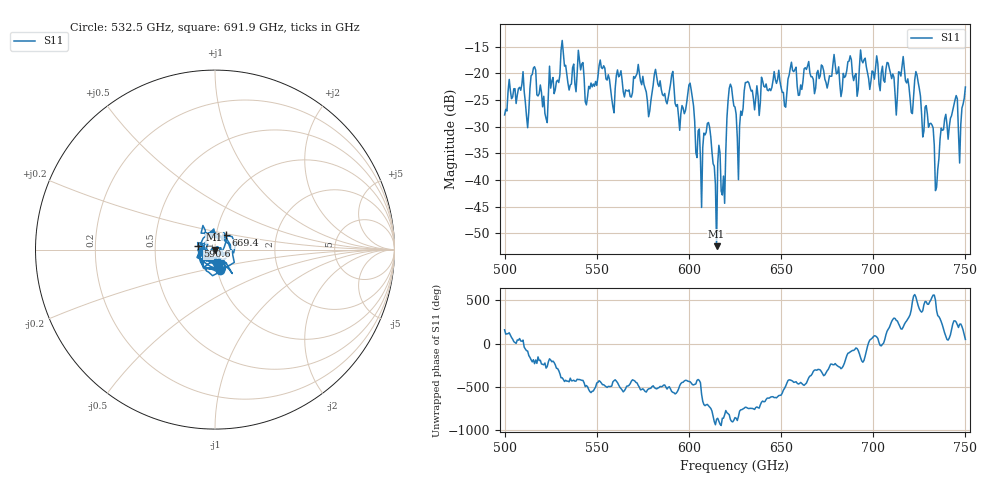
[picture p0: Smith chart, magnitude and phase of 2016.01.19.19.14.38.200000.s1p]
!Created with skrf (http://scikit-rf.org).
# GHz S RI R 50.0
!freq ReS11 ImS11
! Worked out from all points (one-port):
!   401 points, 500 GHz to 750 GHz, reference 50 ohm
!   lowest |S11| = -52.4 dB at 615 GHz (marker M1), VSWR 1.00, Z = 49.8 - j0.11 ohm
!   |S11| at or under -10 dB: start of sweep to end of sweep
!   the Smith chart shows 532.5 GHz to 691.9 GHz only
!   S11 on the Smith chart (normalised r, x): 532.5 GHz: 1.03, -0.24; 590.6 GHz: 0.83, +0.03; 669.4 GHz: 1.11, +0.18; 691.9 GHz: 1.01, -0.14
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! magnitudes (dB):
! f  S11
! 500 GHz  -27.8
! 508.8 GHz  -23.2
! 512.5 GHz  -30.2
! 515.6 GHz  -19.0
! 521.9 GHz  -27.5
! 531.2 GHz  -13.8
! 532.5 GHz  -18.7
! 545 GHz  -24.4
! 562.5 GHz  -20.3
! 590.6 GHz  -20.4
! 593.8 GHz  -25.9
! 600.6 GHz  -21.8
! 605.6 GHz  -30.4
! 610.6 GHz  -29.2
! 615 GHz  -52.4
! 618.8 GHz  -39.3
! 621.9 GHz  -22.8
! 625 GHz  -26.3
! 656.2 GHz  -19.5
! 669.4 GHz  -20.0
! 687.5 GHz  -16.7
! 691.9 GHz  -22.9
! 718.8 GHz  -21.0
! 724.4 GHz  -21.7
! 734.4 GHz  -41.4
! 738.1 GHz  -30.6
! 747.5 GHz  -29.6
! 750 GHz  -22.6
